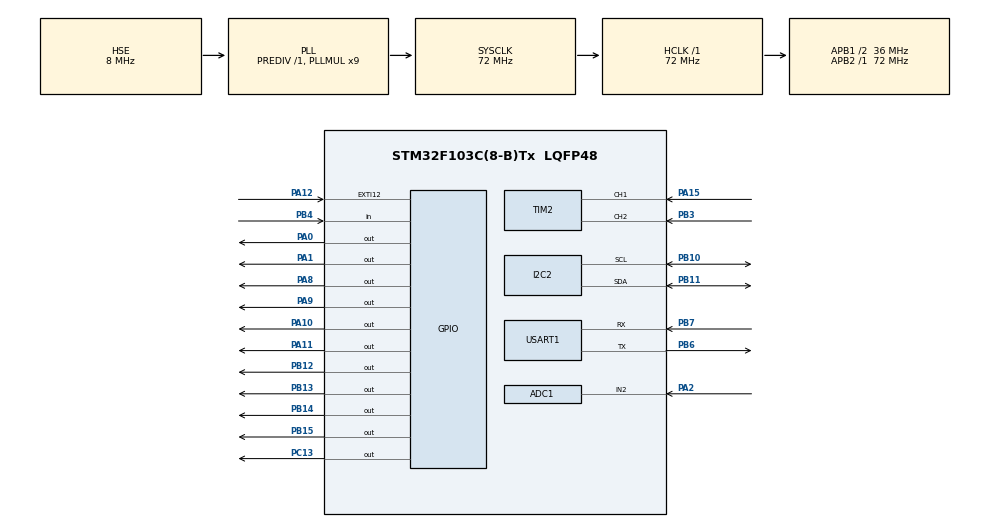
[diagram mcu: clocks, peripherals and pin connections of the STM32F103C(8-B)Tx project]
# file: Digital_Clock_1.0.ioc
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ADC1.Channel-0\#ChannelRegularConversion=ADC_CHANNEL_2
ADC1.NbrOfConversionFlag=1
ADC1.Rank-0\#ChannelRegularConversion=1
ADC1.SamplingTime-0\#ChannelRegularConversion=ADC_SAMPLETIME_239CYCLES_5
ADC1.master=1
Mcu.Family=STM32F1
Mcu.Name=STM32F103C(8-B)Tx
Mcu.Package=LQFP48
NVIC.ADC1_2_IRQn=true\:0\:0\:false\:false\:true\:true\:true\:true
NVIC.PriorityGroup=NVIC_PRIORITYGROUP_4
NVIC.TIM2_IRQn=true\:0\:0\:false\:false\:true\:true\:true\:true
NVIC.USART1_IRQn=true\:0\:0\:false\:false\:true\:true\:true\:true
PA0-WKUP.Signal=GPIO_Output
PA1.Signal=GPIO_Output
PA10.Signal=GPIO_Output
PA11.Signal=GPIO_Output
PA12.Signal=GPXTI12
PA13.Mode=Serial_Wire
PA13.Signal=SYS_JTMS-SWDIO
PA14.Mode=Serial_Wire
PA14.Signal=SYS_JTCK-SWCLK
PA15.Signal=S_TIM2_CH1_ETR
PA2.Signal=ADCx_IN2
PA8.Signal=GPIO_Output
PA9.Signal=GPIO_Output
PB10.Mode=I2C
PB10.Signal=I2C2_SCL
PB11.Mode=I2C
PB11.Signal=I2C2_SDA
PB12.Signal=GPIO_Output
PB13.Signal=GPIO_Output
PB14.Signal=GPIO_Output
PB15.Signal=GPIO_Output
PB3.Signal=S_TIM2_CH2
PB4.Signal=GPIO_Input
PB6.Mode=Asynchronous
PB6.Signal=USART1_TX
PB7.Mode=Asynchronous
PB7.Signal=USART1_RX
PC13-TAMPER-RTC.Signal=GPIO_Output
PD0-OSC_IN.Mode=HSE-External-Oscillator
PD0-OSC_IN.Signal=RCC_OSC_IN
PD1-OSC_OUT.Mode=HSE-External-Oscillator
PD1-OSC_OUT.Signal=RCC_OSC_OUT
ProjectManager.HeapSize=0x200
ProjectManager.StackSize=0x400
ProjectManager.TargetToolchain=STM32CubeIDE
RCC.ADCPresc=RCC_ADCPCLK2_DIV6
RCC.AHBFreq_Value=72000000
RCC.APB1CLKDivider=RCC_HCLK_DIV2
RCC.APB1Freq_Value=36000000
RCC.APB1TimFreq_Value=72000000
RCC.APB2Freq_Value=72000000
RCC.APB2TimFreq_Value=72000000
RCC.HCLKFreq_Value=72000000
RCC.PLLMUL=RCC_PLL_MUL9
RCC.PLLSourceVirtual=RCC_PLLSOURCE_HSE
RCC.SYSCLKFreq_VALUE=72000000
RCC.SYSCLKSource=RCC_SYSCLKSOURCE_PLLCLK
RCC.USBFreq_Value=72000000
SH.ADCx_IN2.0=ADC1_IN2,IN2
SH.S_TIM2_CH1_ETR.0=TIM2_CH1,Encoder_Interface
SH.S_TIM2_CH2.0=TIM2_CH2,Encoder_Interface
TIM1.Prescaler=71
TIM2.AutoReloadPreload=TIM_AUTORELOAD_PRELOAD_DISABLE
TIM2.EncoderMode=TIM_ENCODERMODE_TI12
TIM2.IC1Filter=10
TIM2.IC1Polarity=TIM_ICPOLARITY_RISING
TIM2.IC2Filter=10
TIM2.IC2Polarity=TIM_ICPOLARITY_RISING
USART1.VirtualMode=VM_ASYNC
VP_RTC_VS_RTC_Activate.Mode=RTC_Enabled
VP_RTC_VS_RTC_Calendar.Mode=RTC_Calendar
VP_TIM1_VS_ClockSourceINT.Mode=Internal
board=custom

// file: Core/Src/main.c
/* USER CODE BEGIN Header */
/**
  ******************************************************************************
  * @file           : main.c
  * @brief          : Main program body
  ******************************************************************************
  * @attention
  *
  * Copyright (c) 2022 STMicroelectronics.
  * All rights reserved.
  *
  * This software is licensed under terms that can be found in the LICENSE file
  * in the root directory of this software component.
  * If no LICENSE file comes with this software, it is provided AS-IS.
  *
  ******************************************************************************
  */
/* USER CODE END Header */
#include "main.h"

/* USER CODE BEGIN Includes */

#include "LCD_I2C.h"
#include "real_time.h"
#include "Menu.h"
#include "DHT.h"
#include "Rotary_Encoder.h"
#include "Alarm.h"
#include "Delay_us.h"
#include "Battery_Value.h"

/* USER CODE END Includes */

ADC_HandleTypeDef hadc1;

I2C_HandleTypeDef hi2c2;

RTC_HandleTypeDef hrtc;

TIM_HandleTypeDef htim1;
TIM_HandleTypeDef htim2;

UART_HandleTypeDef huart1;

void SystemClock_Config(void);
static void MX_GPIO_Init(void);
static void MX_TIM2_Init(void);
static void MX_RTC_Init(void);
static void MX_I2C2_Init(void);
static void MX_ADC1_Init(void);
static void MX_TIM1_Init(void);
static void MX_USART1_UART_Init(void);

/* USER CODE BEGIN 0 */

LCD_I2C_HandleTypeDef hlcd;
DHT_HandleTypeDef hdht;

#define CHECKING_SENSOR_TIME	2000
void TEMP_AND_HUM_Handle(){
	static uint32_t timer = 0;
	static uint8_t system_temperature = 0;
	static uint8_t system_huminity = 0;
	if(HAL_GetTick() - timer >= CHECKING_SENSOR_TIME){
		HAL_TIM_Encoder_Stop_IT(&htim2, TIM_CHANNEL_ALL);
		DHT_Read_Value(&hdht);
		HAL_TIM_Encoder_Start_IT(&htim2, TIM_CHANNEL_ALL);
		if(system_huminity != (uint8_t)hdht.huminity || system_temperature != (uint8_t)hdht.temperature){
			system_huminity = hdht.huminity;
			system_temperature = hdht.temperature;
			if(MENU_Data.menu_type == MAIN_MENU){
				MAIN_MENU_Update_Value();
			}
		}

		timer = HAL_GetTick();
	}
}

/* USER CODE END 0 */

int main(void)
{

  /* MCU Configuration--------------------------------------------------------*/

  /* Reset of all peripherals, Initializes the Flash interface and the Systick. */
  HAL_Init();

  /* Configure the system clock */
  SystemClock_Config();

  /* Initialize all configured peripherals */
  MX_GPIO_Init();
  MX_TIM2_Init();
  MX_RTC_Init();
  MX_I2C2_Init();
  MX_ADC1_Init();
  MX_TIM1_Init();
  MX_USART1_UART_Init();
  /* USER CODE BEGIN 2 */

  HAL_GPIO_WritePin(GPIOC, GPIO_PIN_13, 0);
  HAL_GPIO_WritePin(GPIOA, GPIO_PIN_1, 0);

  HAL_Delay(500);

  DELAY_US_Init(&htim1);
  REALTIME_Init();
  DHT_Init(&hdht, DHT11, GPIOA, GPIO_PIN_0);
  LCD_Init(&hlcd, &hi2c2, 20, 4, 0x4E);
  MENU_Init(&hlcd);
  ROTARY_ENCODER_Init();
  ALARM_Init(GPIOA, GPIO_PIN_1);
  BATTERY_LEVEL_Init();

  HAL_TIM_Encoder_Start_IT(&htim2, TIM_CHANNEL_ALL);

  /* USER CODE END 2 */

  /* Infinite loop */
  while (1)
  {

    /* USER CODE BEGIN 3 */

	  REALTIME_Handle();

	  TEMP_AND_HUM_Handle();

	  MENU_Handle();

	  ROTARY_ENCODER_Handle();

	  ALARM_Handle();

	  BATTERY_LEVEL_Handle();

  }
  /* USER CODE END 3 */
}

void SystemClock_Config(void)
{
  RCC_OscInitTypeDef RCC_OscInitStruct = {0};
  RCC_ClkInitTypeDef RCC_ClkInitStruct = {0};
  RCC_PeriphCLKInitTypeDef PeriphClkInit = {0};

  /** Initializes the RCC Oscillators according to the specified parameters
  * in the RCC_OscInitTypeDef structure.
  */
  RCC_OscInitStruct.OscillatorType = RCC_OSCILLATORTYPE_LSI|RCC_OSCILLATORTYPE_HSE;
  RCC_OscInitStruct.HSEState = RCC_HSE_ON;
  RCC_OscInitStruct.HSEPredivValue = RCC_HSE_PREDIV_DIV1;
  RCC_OscInitStruct.HSIState = RCC_HSI_ON;
  RCC_OscInitStruct.LSIState = RCC_LSI_ON;
  RCC_OscInitStruct.PLL.PLLState = RCC_PLL_ON;
  RCC_OscInitStruct.PLL.PLLSource = RCC_PLLSOURCE_HSE;
  RCC_OscInitStruct.PLL.PLLMUL = RCC_PLL_MUL9;
  if (HAL_RCC_OscConfig(&RCC_OscInitStruct) != HAL_OK)
  {
    Error_Handler();
  }

  /** Initializes the CPU, AHB and APB buses clocks
  */
  RCC_ClkInitStruct.ClockType = RCC_CLOCKTYPE_HCLK|RCC_CLOCKTYPE_SYSCLK
                              |RCC_CLOCKTYPE_PCLK1|RCC_CLOCKTYPE_PCLK2;
  RCC_ClkInitStruct.SYSCLKSource = RCC_SYSCLKSOURCE_PLLCLK;
  RCC_ClkInitStruct.AHBCLKDivider = RCC_SYSCLK_DIV1;
  RCC_ClkInitStruct.APB1CLKDivider = RCC_HCLK_DIV2;
  RCC_ClkInitStruct.APB2CLKDivider = RCC_HCLK_DIV1;

  if (HAL_RCC_ClockConfig(&RCC_ClkInitStruct, FLASH_LATENCY_2) != HAL_OK)
  {
    Error_Handler();
  }
  PeriphClkInit.PeriphClockSelection = RCC_PERIPHCLK_RTC|RCC_PERIPHCLK_ADC;
  PeriphClkInit.RTCClockSelection = RCC_RTCCLKSOURCE_LSI;
  PeriphClkInit.AdcClockSelection = RCC_ADCPCLK2_DIV6;
  if (HAL_RCCEx_PeriphCLKConfig(&PeriphClkInit) != HAL_OK)
  {
    Error_Handler();
  }
}

static void MX_ADC1_Init(void)
{

  ADC_ChannelConfTypeDef sConfig = {0};

  /** Common config
  */
  hadc1.Instance = ADC1;
  hadc1.Init.ScanConvMode = ADC_SCAN_DISABLE;
  hadc1.Init.ContinuousConvMode = DISABLE;
  hadc1.Init.DiscontinuousConvMode = DISABLE;
  hadc1.Init.ExternalTrigConv = ADC_SOFTWARE_START;
  hadc1.Init.DataAlign = ADC_DATAALIGN_RIGHT;
  hadc1.Init.NbrOfConversion = 1;
  if (HAL_ADC_Init(&hadc1) != HAL_OK)
  {
    Error_Handler();
  }

  /** Configure Regular Channel
  */
  sConfig.Channel = ADC_CHANNEL_2;
  sConfig.Rank = ADC_REGULAR_RANK_1;
  sConfig.SamplingTime = ADC_SAMPLETIME_239CYCLES_5;
  if (HAL_ADC_ConfigChannel(&hadc1, &sConfig) != HAL_OK)
  {
    Error_Handler();
  }

}

static void MX_I2C2_Init(void)
{

  hi2c2.Instance = I2C2;
  hi2c2.Init.ClockSpeed = 100000;
  hi2c2.Init.DutyCycle = I2C_DUTYCYCLE_2;
  hi2c2.Init.OwnAddress1 = 0;
  hi2c2.Init.AddressingMode = I2C_ADDRESSINGMODE_7BIT;
  hi2c2.Init.DualAddressMode = I2C_DUALADDRESS_DISABLE;
  hi2c2.Init.OwnAddress2 = 0;
  hi2c2.Init.GeneralCallMode = I2C_GENERALCALL_DISABLE;
  hi2c2.Init.NoStretchMode = I2C_NOSTRETCH_DISABLE;
  if (HAL_I2C_Init(&hi2c2) != HAL_OK)
  {
    Error_Handler();
  }

}

static void MX_RTC_Init(void)
{

  RTC_TimeTypeDef sTime = {0};
  RTC_DateTypeDef DateToUpdate = {0};

  /** Initialize RTC Only
  */
  hrtc.Instance = RTC;
  hrtc.Init.AsynchPrediv = RTC_AUTO_1_SECOND;
  hrtc.Init.OutPut = RTC_OUTPUTSOURCE_ALARM;
  if (HAL_RTC_Init(&hrtc) != HAL_OK)
  {
    Error_Handler();
  }

  /* USER CODE BEGIN Check_RTC_BKUP */

  return;

  /* USER CODE END Check_RTC_BKUP */

  /** Initialize RTC and set the Time and Date
  */
  sTime.Hours = 0x0;
  sTime.Minutes = 0x0;
  sTime.Seconds = 0x0;

  if (HAL_RTC_SetTime(&hrtc, &sTime, RTC_FORMAT_BCD) != HAL_OK)
  {
    Error_Handler();
  }
  DateToUpdate.WeekDay = RTC_WEEKDAY_MONDAY;
  DateToUpdate.Month = RTC_MONTH_JANUARY;
  DateToUpdate.Date = 0x1;
  DateToUpdate.Year = 0x0;

  if (HAL_RTC_SetDate(&hrtc, &DateToUpdate, RTC_FORMAT_BCD) != HAL_OK)
  {
    Error_Handler();
  }

}

static void MX_TIM1_Init(void)
{

  TIM_ClockConfigTypeDef sClockSourceConfig = {0};
  TIM_MasterConfigTypeDef sMasterConfig = {0};

  htim1.Instance = TIM1;
  htim1.Init.Prescaler = 71;
  htim1.Init.CounterMode = TIM_COUNTERMODE_UP;
  htim1.Init.Period = 65535;
  htim1.Init.ClockDivision = TIM_CLOCKDIVISION_DIV1;
  htim1.Init.RepetitionCounter = 0;
  htim1.Init.AutoReloadPreload = TIM_AUTORELOAD_PRELOAD_DISABLE;
  if (HAL_TIM_Base_Init(&htim1) != HAL_OK)
  {
    Error_Handler();
  }
  sClockSourceConfig.ClockSource = TIM_CLOCKSOURCE_INTERNAL;
  if (HAL_TIM_ConfigClockSource(&htim1, &sClockSourceConfig) != HAL_OK)
  {
    Error_Handler();
  }
  sMasterConfig.MasterOutputTrigger = TIM_TRGO_RESET;
  sMasterConfig.MasterSlaveMode = TIM_MASTERSLAVEMODE_DISABLE;
  if (HAL_TIMEx_MasterConfigSynchronization(&htim1, &sMasterConfig) != HAL_OK)
  {
    Error_Handler();
  }

}

static void MX_TIM2_Init(void)
{

  TIM_Encoder_InitTypeDef sConfig = {0};
  TIM_MasterConfigTypeDef sMasterConfig = {0};

  htim2.Instance = TIM2;
  htim2.Init.Prescaler = 0;
  htim2.Init.CounterMode = TIM_COUNTERMODE_UP;
  htim2.Init.Period = 65535;
  htim2.Init.ClockDivision = TIM_CLOCKDIVISION_DIV1;
  htim2.Init.AutoReloadPreload = TIM_AUTORELOAD_PRELOAD_DISABLE;
  sConfig.EncoderMode = TIM_ENCODERMODE_TI12;
  sConfig.IC1Polarity = TIM_ICPOLARITY_RISING;
  sConfig.IC1Selection = TIM_ICSELECTION_DIRECTTI;
  sConfig.IC1Prescaler = TIM_ICPSC_DIV1;
  sConfig.IC1Filter = 10;
  sConfig.IC2Polarity = TIM_ICPOLARITY_RISING;
  sConfig.IC2Selection = TIM_ICSELECTION_DIRECTTI;
  sConfig.IC2Prescaler = TIM_ICPSC_DIV1;
  sConfig.IC2Filter = 10;
  if (HAL_TIM_Encoder_Init(&htim2, &sConfig) != HAL_OK)
  {
    Error_Handler();
  }
  sMasterConfig.MasterOutputTrigger = TIM_TRGO_RESET;
  sMasterConfig.MasterSlaveMode = TIM_MASTERSLAVEMODE_DISABLE;
  if (HAL_TIMEx_MasterConfigSynchronization(&htim2, &sMasterConfig) != HAL_OK)
  {
    Error_Handler();
  }

}

static void MX_USART1_UART_Init(void)
{

  huart1.Instance = USART1;
  huart1.Init.BaudRate = 115200;
  huart1.Init.WordLength = UART_WORDLENGTH_8B;
  huart1.Init.StopBits = UART_STOPBITS_1;
  huart1.Init.Parity = UART_PARITY_NONE;
  huart1.Init.Mode = UART_MODE_TX_RX;
  huart1.Init.HwFlowCtl = UART_HWCONTROL_NONE;
  huart1.Init.OverSampling = UART_OVERSAMPLING_16;
  if (HAL_UART_Init(&huart1) != HAL_OK)
  {
    Error_Handler();
  }

}

static void MX_GPIO_Init(void)
{
  GPIO_InitTypeDef GPIO_InitStruct = {0};

  /* GPIO Ports Clock Enable */
  __HAL_RCC_GPIOC_CLK_ENABLE();
  __HAL_RCC_GPIOD_CLK_ENABLE();
  __HAL_RCC_GPIOA_CLK_ENABLE();
  __HAL_RCC_GPIOB_CLK_ENABLE();

  /*Configure GPIO pin Output Level */
  HAL_GPIO_WritePin(GPIOC, GPIO_PIN_13, GPIO_PIN_RESET);

  /*Configure GPIO pin Output Level */
  HAL_GPIO_WritePin(GPIOA, GPIO_PIN_0|GPIO_PIN_1|GPIO_PIN_8|GPIO_PIN_9
                          |GPIO_PIN_10|GPIO_PIN_11, GPIO_PIN_RESET);

  /*Configure GPIO pin Output Level */
  HAL_GPIO_WritePin(GPIOB, GPIO_PIN_12|GPIO_PIN_13|GPIO_PIN_14|GPIO_PIN_15, GPIO_PIN_RESET);

  /*Configure GPIO pin : PC13 */
  GPIO_InitStruct.Pin = GPIO_PIN_13;
  GPIO_InitStruct.Mode = GPIO_MODE_OUTPUT_PP;
  GPIO_InitStruct.Pull = GPIO_NOPULL;
  GPIO_InitStruct.Speed = GPIO_SPEED_FREQ_LOW;
  HAL_GPIO_Init(GPIOC, &GPIO_InitStruct);

  /*Configure GPIO pins : PA0 PA1 PA8 PA9
                           PA10 PA11 */
  GPIO_InitStruct.Pin = GPIO_PIN_0|GPIO_PIN_1|GPIO_PIN_8|GPIO_PIN_9
                          |GPIO_PIN_10|GPIO_PIN_11;
  GPIO_InitStruct.Mode = GPIO_MODE_OUTPUT_PP;
  GPIO_InitStruct.Pull = GPIO_NOPULL;
  GPIO_InitStruct.Speed = GPIO_SPEED_FREQ_LOW;
  HAL_GPIO_Init(GPIOA, &GPIO_InitStruct);

  /*Configure GPIO pins : PB12 PB13 PB14 PB15 */
  GPIO_InitStruct.Pin = GPIO_PIN_12|GPIO_PIN_13|GPIO_PIN_14|GPIO_PIN_15;
  GPIO_InitStruct.Mode = GPIO_MODE_OUTPUT_PP;
  GPIO_InitStruct.Pull = GPIO_NOPULL;
  GPIO_InitStruct.Speed = GPIO_SPEED_FREQ_LOW;
  HAL_GPIO_Init(GPIOB, &GPIO_InitStruct);

  /*Configure GPIO pin : PA12 */
  GPIO_InitStruct.Pin = GPIO_PIN_12;
  GPIO_InitStruct.Mode = GPIO_MODE_IT_RISING;
  GPIO_InitStruct.Pull = GPIO_NOPULL;
  HAL_GPIO_Init(GPIOA, &GPIO_InitStruct);

  /*Configure GPIO pin : PB4 */
  GPIO_InitStruct.Pin = GPIO_PIN_4;
  GPIO_InitStruct.Mode = GPIO_MODE_INPUT;
  GPIO_InitStruct.Pull = GPIO_NOPULL;
  HAL_GPIO_Init(GPIOB, &GPIO_InitStruct);

}

void Error_Handler(void)
{
  __disable_irq();
  while (1)
  {
  }
}
